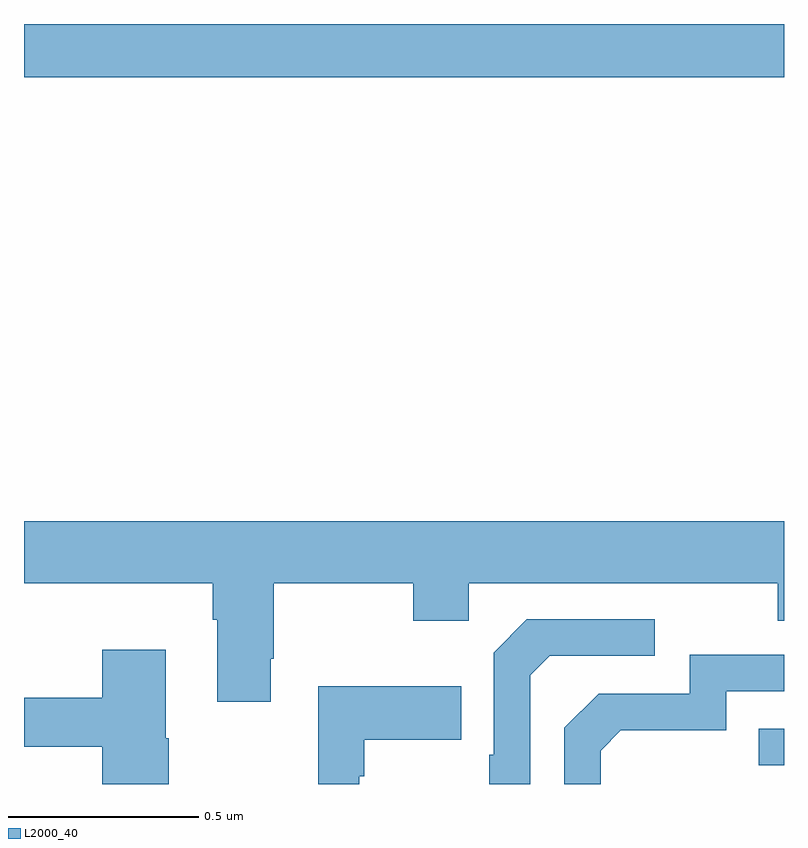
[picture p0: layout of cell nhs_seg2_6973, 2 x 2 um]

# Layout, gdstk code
import gdstk
lib = gdstk.Library(unit=1e-6, precision=1e-09)
def R(c, l, rs):  # rectangles x0, y0, x1, y1
    for r in rs: c.add(gdstk.rectangle(r[:2], r[2:], *l))
def P(c, l, *ps):  # polygons
    for p in ps: c.add(gdstk.Polygon(p, *l))
L2000_40 = (2000, 40)

nhs_seg2_6973 = lib.new_cell('nhs_seg2_6973')
R(nhs_seg2_6973, L2000_40, [(199.933,621.849,200,621.945), (198,623.66,200,623.8)])
P(nhs_seg2_6973, L2000_40, [(198.649,622.129),(198.657,622.129),(198.657,622.328),(199.024,622.328),(199.024,622.229),(199.17,622.229),(199.17,622.328),(199.984,622.328),(199.984,622.229),(200,622.229),(200,622.492),(198,622.492),(198,622.328),(198.497,622.328),(198.497,622.232),(198.509,622.232),(198.509,622.017),(198.649,622.017)],
  [(199.332,622.086),(199.383,622.137),(199.66,622.137),(199.66,622.233),(199.323,622.233),(199.236,622.146),(199.236,621.877),(199.224,621.877),(199.224,621.8),(199.332,621.8)],
  [(198.381,621.921),(198.373,621.921),(198.373,622.153),(198.206,622.153),(198.206,622.027),(198,622.027),(198,621.898),(198.206,621.898),(198.206,621.8),(198.381,621.8)],
  [(199.518,621.888),(199.571,621.941),(199.848,621.941),(199.848,622.044),(200,622.044),(200,622.14),(199.752,622.14),(199.752,622.038),(199.512,622.038),(199.422,621.948),(199.422,621.8),(199.518,621.8)],
  [(198.882,621.821),(198.895,621.821),(198.895,621.917),(199.151,621.917),(199.151,622.057),(198.774,622.057),(198.774,621.8),(198.882,621.8)])

lib.write_gds('nhs_seg2_6973.gds')
